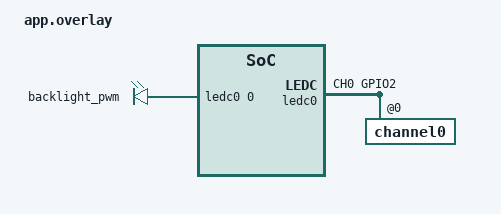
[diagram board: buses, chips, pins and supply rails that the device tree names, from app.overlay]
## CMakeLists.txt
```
cmake_minimum_required(VERSION 3.20.0)

set(EXTRA_ZEPHYR_MODULES
    "${CMAKE_CURRENT_SOURCE_DIR}/../.."
)

find_package(Zephyr REQUIRED HINTS $ENV{ZEPHYR_BASE})
project(viewe_lvgl_demo)

target_include_directories(app PRIVATE src)

if(BOARD STREQUAL "uedx80480050e_wb_a")
    target_sources(app PRIVATE src/main_8048.c)

elseif(BOARD STREQUAL "uedx48270043e_wb_a")
    target_sources(app PRIVATE src/main_4827.c)

else()
    message(FATAL_ERROR "Unsupported board for viewe_lvgl_demo: ${BOARD}")
endif()

target_sources(app PRIVATE
    src/test_stress_test.c
)

set(external_project_cflags
    "${includes} ${definitions} ${options} ${system_includes} -DDISABLE_AUTOMATIC_FW_UPDATE"
)
```

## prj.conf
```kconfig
# System logging
CONFIG_LOG=y
CONFIG_LOG_LCD_CAM_DIAGNOSTICS=n

# Hardware peripherals
CONFIG_GPIO=y
CONFIG_PWM=y
CONFIG_DMA=y
CONFIG_LED_STRIP=y
CONFIG_PULSE_IO_ESP32_RMT=y

# LCD_CAM RGB display
CONFIG_DISPLAY=y
CONFIG_ESP32_LCD_CAM_RGB=y
CONFIG_ESP32_LCD_RGB_FRAMEBUFFER_COUNT=3
CONFIG_ESP32_LCD_RGB_ROTATION_0=y
# CONFIG_ESP32_LCD_RGB_ROTATION_90=y
# CONFIG_ESP32_LCD_RGB_ROTATION_180=y
# CONFIG_ESP32_LCD_RGB_ROTATION_270=y

# LCD backlight
CONFIG_LED=y
CONFIG_LED_PWM=y

# External PSRAM
CONFIG_ESP_SPIRAM=y
CONFIG_SPIRAM_SPEED_80M=y

# GT911 touchscreen
CONFIG_INPUT=y
CONFIG_INPUT_GT911=y
# Default: POLL=y. Set INT=y only when R33 is mounted.
CONFIG_GT911_TOUCHSCREEN_POLL=y
# CONFIG_GT911_TOUCHSCREEN_INT=y

# LVGL
CONFIG_LVGL=y
CONFIG_LV_COLOR_FORMAT_RGB565=y
CONFIG_LV_Z_MEM_POOL_SIZE=65536
CONFIG_LV_Z_POINTER_INPUT=y
CONFIG_LV_Z_POINTER_FROM_CHOSEN_TOUCH=y
CONFIG_LV_Z_PARTIAL_REFRESH=y
# CONFIG_LV_Z_VDB_SIZE=10
CONFIG_LV_Z_DOUBLE_VDB=y
CONFIG_LV_Z_BUFFER_ALLOC_STATIC=y
CONFIG_LV_Z_AUTO_INIT=y

# LVGL fonts
CONFIG_LV_FONT_MONTSERRAT_20=y
CONFIG_LV_FONT_MONTSERRAT_28=y
CONFIG_LV_FONT_MONTSERRAT_48=y
```

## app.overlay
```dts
#include <zephyr/dt-bindings/pwm/pwm.h>
#include <zephyr/dt-bindings/pinctrl/esp32s3-pinctrl.h>

&lcd_backlight_en {
	status = "disabled";
};

&pinctrl {
	backlight_pwm_default: backlight_pwm_default {
		group1 {
			pinmux = <LEDC_CH0_GPIO2>;
			output-enable;
		};
	};
};

&ledc0 {
	status = "okay";
	pinctrl-0 = <&backlight_pwm_default>;
	pinctrl-names = "default";
	#address-cells = <1>;
	#size-cells = <0>;

	channel0@0 {
		reg = <0>;
		timer = <0>;
	};
};

/ {
	pwmleds {
		compatible = "pwm-leds";

		backlight_pwm: backlight_pwm {
			pwms = <&ledc0 0 PWM_HZ(250) PWM_POLARITY_NORMAL>;
		};
	};
};
```

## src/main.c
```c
#include <zephyr/kernel.h>
#include <zephyr/sys/printk.h>
#include <zephyr/drivers/gpio.h>
#include <zephyr/drivers/led.h>
#include <zephyr/drivers/led_strip.h>
#include <zephyr/drivers/display.h>
#include <zephyr/device.h>
#include <zephyr/devicetree.h>
#include <zephyr/logging/log.h>
#include <zephyr/version.h>

#include <stdint.h>
#include <lvgl.h>

LOG_MODULE_REGISTER(main, LOG_LEVEL_INF);

#define LVGL_TASK_DELAY_MS  (10U)

#define SAMUS_ORANGE		(0xF28C28U)
#define SAMUS_RED       	(0xD62828U)
#define SAMUS_BLUE      	(0x2389DAU)
#define SAMUS_GREEN     	(0x50C878U)
#define SAMUS_PURPLE    	(0x8445C7U)
#define DARK_SAMUS_BLUE     (0x00CFFFU)
#define DARK_SAMUS_ARMOR	(0x142B5AU)

#define RGB_LED_NODE 			DT_ALIAS(led_strip)
#define BACKLIGHT_NODE      	DT_ALIAS(backlight_pwm)
#define BACKLIGHT_LED_INDEX 	(0U)

#define VERSION_TEXT_SIZE		(64U)

#define ANIMATION_DURATION_MS 	(3000U)
#define ANIMATION_BOX_SIZE    	(100)

#define RUN_STRESS_TEST (0)
extern void stress_test_start(lv_obj_t *screen);

static lv_obj_t *screen = NULL;
static lv_obj_t *counter_label = NULL;
static uint32_t click_count = 0U;

static void clickme_button_event_cb(lv_event_t *event)
{
    if (LV_EVENT_CLICKED == lv_event_get_code(event)) {
        click_count++;
		lv_label_set_text_fmt(counter_label, "Clicks: %u", click_count);

        LOG_INF("Button clicked: %u", (unsigned int)click_count);
    }
}

static void create_clickme(lv_obj_t *screen)
{
    lv_obj_t *button = NULL;
    lv_obj_t *button_label = NULL;
	
    counter_label = lv_label_create(screen);
    lv_label_set_text(counter_label, "Clicks: 0");
	lv_obj_set_style_text_font(counter_label, &lv_font_montserrat_48, LV_PART_MAIN);
    lv_obj_set_style_text_color(counter_label, lv_color_hex(SAMUS_PURPLE), LV_PART_MAIN);
    lv_obj_align(counter_label, LV_ALIGN_TOP_LEFT, 20, 20);

	button = lv_obj_create(screen);
	lv_obj_set_size(button, 180, 60);
	lv_obj_align(button, LV_ALIGN_TOP_RIGHT, -20, 20);
	lv_obj_remove_flag(button, LV_OBJ_FLAG_SCROLLABLE);
	lv_obj_add_flag(button, LV_OBJ_FLAG_CLICKABLE);

	lv_obj_set_style_bg_color(button, lv_color_hex(SAMUS_ORANGE), LV_PART_MAIN);
	lv_obj_set_style_bg_color(button, lv_color_hex(DARK_SAMUS_ARMOR), LV_PART_MAIN | LV_STATE_PRESSED);
	lv_obj_set_style_bg_opa(button, LV_OPA_COVER, LV_PART_MAIN);
	lv_obj_set_style_border_width(button, 0, LV_PART_MAIN);
	lv_obj_set_style_radius(button, 10, LV_PART_MAIN);
	lv_obj_set_style_shadow_width(button, 0, LV_PART_MAIN);

	lv_obj_set_style_text_color(button, lv_color_hex(DARK_SAMUS_ARMOR), LV_PART_MAIN);
	lv_obj_set_style_text_color(button, lv_color_hex(DARK_SAMUS_BLUE), LV_PART_MAIN | LV_STATE_PRESSED);
	lv_obj_add_event_cb(button, clickme_button_event_cb, LV_EVENT_CLICKED, NULL);

	button_label = lv_label_create(button);
	lv_label_set_text(button_label, "CLICK ME!");
	lv_obj_set_style_text_font(button_label, &lv_font_montserrat_28, LV_PART_MAIN);
	lv_obj_center(button_label);
}

static void morphball_animation_cb(void *obj, int32_t value)
{
    lv_obj_set_x((lv_obj_t *)obj, value);
}

static void create_morphball_anim(lv_obj_t *screen)
{
	static lv_obj_t *morph_ball = NULL;
	static lv_anim_t anim;

	lv_display_t *display = lv_obj_get_display(screen);
	int32_t screen_width = lv_display_get_horizontal_resolution(display);
	int32_t screen_height = lv_display_get_vertical_resolution(display);

	int32_t animation_start_x = 0;
	int32_t animation_end_x = screen_width - ANIMATION_BOX_SIZE;
	int32_t animation_y = screen_height - 200U;

	morph_ball = lv_obj_create(screen);

	lv_obj_set_size(morph_ball, ANIMATION_BOX_SIZE, ANIMATION_BOX_SIZE);
	lv_obj_set_style_bg_color(morph_ball, lv_color_hex(SAMUS_ORANGE), LV_PART_MAIN);
	lv_obj_set_style_bg_opa(morph_ball, LV_OPA_COVER, LV_PART_MAIN);
	lv_obj_set_style_radius(morph_ball, (ANIMATION_BOX_SIZE / 2U), LV_PART_MAIN);
	lv_obj_set_style_border_width(morph_ball, 0, LV_PART_MAIN);

	lv_obj_set_pos(morph_ball, animation_start_x, animation_y);

	lv_anim_init(&anim);
	lv_anim_set_var(&anim, morph_ball);
	lv_anim_set_exec_cb(&anim, morphball_animation_cb);
	lv_anim_set_values(&anim, animation_start_x, animation_end_x);
	lv_anim_set_duration(&anim, ANIMATION_DURATION_MS);
	lv_anim_set_playback_duration(&anim, ANIMATION_DURATION_MS);
	lv_anim_set_repeat_count(&anim, LV_ANIM_REPEAT_INFINITE);
	lv_anim_start(&anim);
}

static void create_version(lv_obj_t *screen, bool show_signature)
{
	static lv_obj_t *version_label = NULL;
	static lv_obj_t *label = NULL;
	char version_text[VERSION_TEXT_SIZE] = {0};

	lv_display_t *display = lv_obj_get_display(screen);
	int32_t screen_width = lv_display_get_horizontal_resolution(display);
	int32_t screen_height = lv_display_get_vertical_resolution(display);

	if (screen_height > screen_width) {
		(void)snprintf(version_text, sizeof(version_text),
			       "Zephyr %u.%u\nLVGL %u.%u",
			       (unsigned int)KERNEL_VERSION_MAJOR,
			       (unsigned int)KERNEL_VERSION_MINOR,
			       (unsigned int)lv_version_major(),
			       (unsigned int)lv_version_minor());
	} else {
		(void)snprintf(version_text, sizeof(version_text),
			       "Zephyr %u.%u x LVGL %u.%u",
			       (unsigned int)KERNEL_VERSION_MAJOR,
			       (unsigned int)KERNEL_VERSION_MINOR,
			       (unsigned int)lv_version_major(),
			       (unsigned int)lv_version_minor());
	}

	version_label = lv_label_create(screen);
	lv_label_set_text(version_label, version_text);
	lv_obj_set_style_text_font(version_label, &lv_font_montserrat_48, LV_PART_MAIN);
	lv_obj_set_style_text_color(version_label, lv_color_hex(SAMUS_ORANGE), LV_PART_MAIN);
	lv_obj_set_style_text_align(version_label, LV_TEXT_ALIGN_CENTER, LV_PART_MAIN);
	lv_obj_center(version_label);

	if (true == show_signature) {
		label = lv_label_create(screen);
		lv_label_set_text(label, "@_art_of_electronics_");
		lv_obj_set_style_text_font(label, &lv_font_montserrat_28, LV_PART_MAIN);
		lv_obj_set_style_text_color(label, lv_color_hex(SAMUS_RED), LV_PART_MAIN);
		lv_obj_align(label, LV_ALIGN_BOTTOM_MID, 0, -50);
	}
}

static void create_main_screen(lv_obj_t *screen, bool gradient_bg)
{
	if(true == gradient_bg) {
		lv_obj_set_style_bg_color(screen, lv_color_hex(DARK_SAMUS_BLUE), LV_PART_MAIN);
		lv_obj_set_style_bg_grad_color(screen, lv_color_hex(DARK_SAMUS_ARMOR),LV_PART_MAIN);
		lv_obj_set_style_bg_grad_dir(screen, LV_GRAD_DIR_VER, LV_PART_MAIN);
		lv_obj_set_style_bg_opa(screen, LV_OPA_COVER, LV_PART_MAIN);
	} else {
		lv_obj_set_style_bg_color(screen, lv_color_hex(DARK_SAMUS_ARMOR), LV_PART_MAIN);
    	lv_obj_set_style_bg_opa(screen, LV_OPA_COVER, LV_PART_MAIN);
	}
}

int main(void)
{
	int ret = 0;

	static const struct device *const backlight_dev = DEVICE_DT_GET(BACKLIGHT_NODE);
    static const struct device *const display_dev = DEVICE_DT_GET(DT_CHOSEN(zephyr_display));
	static const struct device *const rgb_led = DEVICE_DT_GET(RGB_LED_NODE);
    
    if (true != device_is_ready(display_dev)) {
        return -ENODEV;
    }

	struct led_rgb pixel = {
		.r = 0U,
		.g = 10U,
		.b = 10U,
	};

	if (true != device_is_ready(rgb_led)) {
		return -ENODEV;
	}

	if (true != device_is_ready(backlight_dev)) {
    	LOG_ERR("Backlight device not ready");
    	return -ENODEV;
	}

	if (NULL == lv_display_get_default()) {
    	LOG_ERR("LVGL display not available");
    	return -ENODEV;
	}

	screen = lv_screen_active();
	if (NULL == screen) {
    	LOG_ERR("LVGL active screen is NULL");
    	return -ENODEV;
	}

	LOG_INF("LCD RGB started");

	ret = led_strip_update_rgb(rgb_led, &pixel, 1U);
    if (0 != ret) {
        LOG_ERR("RGB LED update failed: %d", ret);
        return ret;
    }

    ret = led_set_brightness(backlight_dev, BACKLIGHT_LED_INDEX, 35U);
    if (0 != ret) {
        LOG_ERR("Backlight brightness failed: %d", ret);
        return ret;
    }

	create_main_screen(screen, true);
	create_version(screen, true);
	create_morphball_anim(screen);
	create_clickme(screen);

#if RUN_STRESS_TEST
	stress_test_start(screen);
#endif

	while (true) {
    	lv_timer_handler();
    	k_sleep(K_MSEC(10));
	}
}
```

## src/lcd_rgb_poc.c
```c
#include "lcd_rgb_poc.h"

#include <errno.h>
#include <stdint.h>
#include <string.h>

#include <zephyr/cache.h>
#include <zephyr/device.h>
#include <zephyr/devicetree.h>
#include <zephyr/drivers/dma.h>
#include <zephyr/logging/log.h>
#include <zephyr/sys/util.h>

#include <esp_clk_tree.h>
#include <hal/dma_types.h>
#include <hal/gdma_channel.h>
#include <hal/gdma_ll.h>
#include <hal/lcd_hal.h>
#include <hal/lcd_ll.h>
#include <soc/gdma_struct.h>

#include <zephyr/drivers/pinctrl.h>

#define LCD_CAM_NODE DT_NODELABEL(lcd_cam)

PINCTRL_DT_DEFINE(LCD_CAM_NODE);

LOG_MODULE_REGISTER(lcd_rgb_poc, LOG_LEVEL_INF);

#define LCD_BUS_ID                     0U

#define LCD_PERIPH_CLOCK_PRE_SCALE     2U
#define LCD_PIXEL_CLOCK_HZ             20000000U

#define LCD_HACTIVE                    800U
#define LCD_VACTIVE                    480U

#define LCD_HSYNC_LEN                  1U
#define LCD_HBACK_PORCH                42U
#define LCD_HFRONT_PORCH               20U

#define LCD_VSYNC_LEN                  10U
#define LCD_VBACK_PORCH                12U
#define LCD_VFRONT_PORCH               4U

#define LCD_DATA_WIDTH                 16U

#define LCD_DMA_BUFFER_PIXELS          4000U
#define LCD_DMA_BUFFER_SIZE            \
	(LCD_DMA_BUFFER_PIXELS * sizeof(uint16_t))

#define LCD_DMA_DESC_COUNT             2U
#define LCD_DMA_DESC_SIZE              \
	(LCD_DMA_BUFFER_SIZE / LCD_DMA_DESC_COUNT)

#define LCD_CAM_NODE                   DT_NODELABEL(lcd_cam)

#if !DT_NODE_HAS_STATUS(LCD_CAM_NODE, okay)
#error "LCD_CAM must be enabled in the board devicetree"
#endif

#define LCD_DMA_DEV                    \
	DEVICE_DT_GET(DT_DMAS_CTLR_BY_NAME(LCD_CAM_NODE, tx))

#define LCD_DMA_CHANNEL                \
	DT_DMAS_CELL_BY_NAME(LCD_CAM_NODE, tx, channel)

#define LCD_DMA_SLOT                   SOC_GDMA_TRIG_PERIPH_LCD0

/*
 * ESP32 GDMA exposes RX/TX as separate Zephyr channels.
 * The hardware channel index is therefore channel / 2.
 */
#define LCD_GDMA_HW_CHANNEL            (LCD_DMA_CHANNEL / 2U)

struct lcd_rgb_poc_data {
	lcd_hal_context_t hal;
	const struct device *dma_dev;
	uint32_t dma_channel;
};

static struct lcd_rgb_poc_data lcd_data;

static uint16_t __aligned(32)
	lcd_dma_buffer[LCD_DMA_BUFFER_PIXELS];

static dma_descriptor_t __aligned(4)
	lcd_dma_desc[LCD_DMA_DESC_COUNT];

static struct dma_block_config lcd_dma_setup_block;
static struct dma_config lcd_dma_config;

static int lcd_pinctrl_init(void)
{
    const struct pinctrl_dev_config *pcfg =
        PINCTRL_DT_DEV_CONFIG_GET(LCD_CAM_NODE);

    int ret = pinctrl_apply_state(pcfg, PINCTRL_STATE_DEFAULT);

    if (ret < 0) {
        LOG_ERR("Failed to apply LCD_CAM pinctrl: %d", ret);
        return ret;
    }

    LOG_INF("LCD_CAM RGB pinctrl applied");
    return 0;
}

static int lcd_clock_init(struct lcd_rgb_poc_data *data)
{
	const soc_periph_lcd_clk_src_t clock_source = LCD_CLK_SRC_DEFAULT;
	uint32_t source_clock_hz;
	uint32_t lcd_clock_hz;
	uint32_t pixel_clock_hz;
	uint32_t pclk_prescale;
	int ret;

	ret = esp_clk_tree_src_get_freq_hz(
		clock_source,
		ESP_CLK_TREE_SRC_FREQ_PRECISION_APPROX,
		&source_clock_hz);

	if (ret != ESP_OK) {
		LOG_ERR("Failed to get LCD clock source frequency (%d)", ret);
		return -EINVAL;
	}

	lcd_ll_select_clk_src(data->hal.dev, clock_source);

	lcd_ll_set_group_clock_coeff(
		data->hal.dev,
		LCD_PERIPH_CLOCK_PRE_SCALE,
		0,
		0);

	lcd_clock_hz =
		source_clock_hz / LCD_PERIPH_CLOCK_PRE_SCALE;

	pclk_prescale =
		DIV_ROUND_UP(lcd_clock_hz, LCD_PIXEL_CLOCK_HZ);

	if ((pclk_prescale == 0U) ||
	    (pclk_prescale > LCD_LL_PCLK_DIV_MAX)) {
		LOG_ERR("Unsupported pixel clock divider %u",
			pclk_prescale);
		return -EINVAL;
	}

	lcd_ll_set_pixel_clock_prescale(
		data->hal.dev,
		pclk_prescale);

	pixel_clock_hz = lcd_clock_hz / pclk_prescale;

	LOG_INF("LCD clock source: %u Hz", source_clock_hz);
	LOG_INF("LCD peripheral clock: %u Hz", lcd_clock_hz);
	LOG_INF("RGB pixel clock: %u Hz", pixel_clock_hz);

	return 0;
}


static void lcd_timing_init(struct lcd_rgb_poc_data *data)
{
	lcd_cam_dev_t *dev = data->hal.dev;

	lcd_ll_set_dma_read_stride(dev, LCD_DATA_WIDTH);

	lcd_ll_set_clock_idle_level(dev, false);
	lcd_ll_set_pixel_clock_edge(dev, true);

	lcd_ll_enable_rgb_mode(dev, true);
	lcd_ll_enable_color_convert(dev, false);

	/* RGB uses data phase only. */
	lcd_ll_set_phase_cycles(dev, 0, 0, 1);

	/* Data phase length is controlled by DMA. */
	lcd_ll_enable_output_always_on(dev, true);

	/* HSYNC/VSYNC active low, DE active high. */
	lcd_ll_set_idle_level(dev, true, true, false);

	/* RGB always contains front and back porch regions. */
	lcd_ll_set_blank_cycles(dev, 1, 1);

	lcd_ll_set_horizontal_timing(
		dev,
		LCD_HSYNC_LEN,
		LCD_HBACK_PORCH,
		LCD_HACTIVE,
		LCD_HFRONT_PORCH);

	lcd_ll_set_vertical_timing(
		dev,
		LCD_VSYNC_LEN,
		LCD_VBACK_PORCH,
		LCD_VACTIVE,
		LCD_VFRONT_PORCH);

	lcd_ll_enable_output_hsync_in_porch_region(dev, true);
	lcd_ll_set_hsync_position(dev, 0);

	lcd_ll_enable_auto_next_frame(dev, true);

	lcd_ll_set_delay_ticks(dev, 0, 0, 0);
	lcd_ll_set_data_delay_ticks(dev, 0);
}


static int lcd_cam_init(struct lcd_rgb_poc_data *data)
{
	int ret;

	lcd_ll_enable_bus_clock(LCD_BUS_ID, true);
	lcd_ll_reset_register(LCD_BUS_ID);

	data->hal.dev = LCD_LL_GET_HW(LCD_BUS_ID);

	//lcd_ll_enable_clock(data->hal.dev, true);
	lcd_ll_enable_output_always_on(data->hal.dev, false);

	ret = lcd_clock_init(data);
	if (ret < 0) {
		return ret;
	}

	lcd_ll_reset(data->hal.dev);
	lcd_ll_fifo_reset(data->hal.dev);

	//lcd_ll_enable_rgb_mode(data->hal.dev, true);
	//lcd_ll_enable_color_convert(data->hal.dev, false);
	//lcd_ll_enable_output_always_on(data->hal.dev, true);

	lcd_timing_init(data);

	return 0;
}


static int lcd_dma_channel_init(struct lcd_rgb_poc_data *data)
{
	int ret;

	data->dma_dev = LCD_DMA_DEV;
	data->dma_channel = LCD_DMA_CHANNEL;

	if (!device_is_ready(data->dma_dev)) {
		LOG_ERR("LCD DMA controller is not ready");
		return -ENODEV;
	}

	memset(&lcd_dma_setup_block, 0,
	       sizeof(lcd_dma_setup_block));

	memset(&lcd_dma_config, 0,
	       sizeof(lcd_dma_config));

	/*
	 * Let Zephyr configure the physical GDMA TX channel and connect it
	 * to the LCD0 peripheral trigger.
	 *
	 * This descriptor will never be started through the Zephyr DMA API.
	 */
	lcd_dma_setup_block.source_address =
		(uintptr_t)lcd_dma_buffer;

	lcd_dma_setup_block.block_size =
		sizeof(uint32_t);

	lcd_dma_config.channel_direction =
		MEMORY_TO_PERIPHERAL;

	lcd_dma_config.dma_slot =
		LCD_DMA_SLOT;

	lcd_dma_config.block_count = 1U;

	lcd_dma_config.head_block =
		&lcd_dma_setup_block;

	ret = dma_config(
		data->dma_dev,
		data->dma_channel,
		&lcd_dma_config);

	if (ret < 0) {
		LOG_ERR("Failed to configure LCD DMA channel (%d)", ret);
		return ret;
	}

	LOG_INF("LCD GDMA configured: Zephyr channel %u, HW TX channel %u",
		data->dma_channel,
		LCD_GDMA_HW_CHANNEL);

	return 0;
}


static void lcd_dma_ring_init(void)
{
	uintptr_t buffer_addr = (uintptr_t)lcd_dma_buffer;

	for (size_t i = 0; i < ARRAY_SIZE(lcd_dma_buffer); ++i) {
		lcd_dma_buffer[i] = 0x101F;
	}

	memset(lcd_dma_desc, 0, sizeof(lcd_dma_desc));

	for (size_t i = 0; i < LCD_DMA_DESC_COUNT; ++i) {
	lcd_dma_desc[i].buffer =
		(void *)(buffer_addr +
			(i * LCD_DMA_DESC_SIZE));

	lcd_dma_desc[i].dw0.size = LCD_DMA_DESC_SIZE;
	lcd_dma_desc[i].dw0.length = LCD_DMA_DESC_SIZE;
	lcd_dma_desc[i].dw0.owner =
		DMA_DESCRIPTOR_BUFFER_OWNER_DMA;

	lcd_dma_desc[i].dw0.suc_eof =
		(i == (LCD_DMA_DESC_COUNT - 1U));

	lcd_dma_desc[i].next =
		&lcd_dma_desc[
			(i + 1U) % LCD_DMA_DESC_COUNT];
}

	sys_cache_data_flush_range(
		lcd_dma_buffer,
		sizeof(lcd_dma_buffer));

	sys_cache_data_flush_range(
		lcd_dma_desc,
		sizeof(lcd_dma_desc));

	LOG_INF("LCD DMA ring prepared: %u descriptors, %u bytes",
		LCD_DMA_DESC_COUNT,
		LCD_DMA_BUFFER_SIZE);
}


static void lcd_rgb_start(struct lcd_rgb_poc_data *data)
{
	lcd_cam_dev_t *dev = data->hal.dev;

	lcd_ll_stop(dev);
	lcd_ll_reset(dev);
	lcd_ll_fifo_reset(dev);

	gdma_ll_tx_set_desc_addr(
		&GDMA,
		LCD_GDMA_HW_CHANNEL,
		(uint32_t)(uintptr_t)lcd_dma_desc);

	gdma_ll_tx_start(
		&GDMA,
		LCD_GDMA_HW_CHANNEL);

	k_busy_wait(1);

	lcd_ll_start(dev);

	LOG_INF("LCD RGB stream started");

	k_msleep(10);

	LOG_INF("GDMA: idle=%d eof=0x%08x prefetched=0x%08x",
	gdma_ll_tx_is_desc_fsm_idle(
		&GDMA, LCD_GDMA_HW_CHANNEL),
	gdma_ll_tx_get_eof_desc_addr(
		&GDMA, LCD_GDMA_HW_CHANNEL),
	gdma_ll_tx_get_prefetched_desc_addr(
		&GDMA, LCD_GDMA_HW_CHANNEL));
}


int lcd_rgb_poc_init(void)
{
	int ret;

	LOG_INF("Initializing ESP32-S3 LCD_CAM RGB proof of concept");

	ret = lcd_pinctrl_init();
	if (ret < 0) {
    	return ret;
	}

	ret = lcd_cam_init(&lcd_data);
	if (ret < 0) {
		return ret;
	}

	ret = lcd_dma_channel_init(&lcd_data);
	if (ret < 0) {
		return ret;
	}

	lcd_dma_ring_init();
	lcd_rgb_start(&lcd_data);

	LOG_INF("LCD_CAM RGB initialized: %ux%u",
		LCD_HACTIVE,
		LCD_VACTIVE);

	return 0;
}
```

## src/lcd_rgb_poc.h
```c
#ifndef LCD_RGB_POC_H_
#define LCD_RGB_POC_H_

int lcd_rgb_poc_init(void);

#endif /* LCD_RGB_POC_H_ */
```

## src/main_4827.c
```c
#include <zephyr/kernel.h>
#include <zephyr/sys/printk.h>
#include <zephyr/drivers/gpio.h>
#include <zephyr/drivers/led.h>
#include <zephyr/drivers/led_strip.h>
#include <zephyr/drivers/display.h>
#include <zephyr/device.h>
#include <zephyr/devicetree.h>
#include <zephyr/logging/log.h>
#include <zephyr/version.h>

#include <stdint.h>
#include <lvgl.h>

LOG_MODULE_REGISTER(main, LOG_LEVEL_INF);

#define LVGL_TASK_DELAY_MS  (10U)

#define SAMUS_ORANGE		(0xF28C28U)
#define SAMUS_RED       	(0xD62828U)
#define SAMUS_BLUE      	(0x2389DAU)
#define SAMUS_GREEN     	(0x50C878U)
#define SAMUS_PURPLE    	(0x8445C7U)
#define DARK_SAMUS_BLUE     (0x00CFFFU)
#define DARK_SAMUS_ARMOR	(0x142B5AU)

#define RGB_LED_NODE 			DT_ALIAS(led_strip)
#define BACKLIGHT_NODE      	DT_ALIAS(backlight_pwm)
#define BACKLIGHT_LED_INDEX 	(0U)

#define VERSION_TEXT_SIZE		(64U)

#define ANIMATION_DURATION_MS 	(3000U)
#define ANIMATION_BOX_SIZE    	(40)

#define RUN_STRESS_TEST (0)
extern void stress_test_start(lv_obj_t *screen);

static lv_obj_t *screen = NULL;
static lv_obj_t *counter_label = NULL;
static uint32_t click_count = 0U;

static void clickme_button_event_cb(lv_event_t *event)
{
    if (LV_EVENT_CLICKED == lv_event_get_code(event)) {
        click_count++;
		lv_label_set_text_fmt(counter_label, "Clicks: %u", click_count);

        LOG_INF("Button clicked: %u", (unsigned int)click_count);
    }
}

static void create_clickme(lv_obj_t *screen)
{
    lv_obj_t *button = NULL;
    lv_obj_t *button_label = NULL;

	lv_display_t *display = lv_obj_get_display(screen);
	int32_t screen_width = lv_display_get_horizontal_resolution(display);
	int32_t screen_height = lv_display_get_vertical_resolution(display);
	
    counter_label = lv_label_create(screen);
    lv_label_set_text(counter_label, "Clicks: 0");
	lv_obj_set_style_text_font(counter_label, &lv_font_montserrat_28, LV_PART_MAIN);
    lv_obj_set_style_text_color(counter_label, lv_color_hex(SAMUS_PURPLE), LV_PART_MAIN);
    lv_obj_align(counter_label, LV_ALIGN_TOP_LEFT, 20, 20);

	button = lv_obj_create(screen);
	lv_obj_set_size(button, 160, 50);
	if (screen_height > screen_width) {
		lv_obj_align(button, LV_ALIGN_TOP_RIGHT, -20, 60);
	} else {
		lv_obj_align(button, LV_ALIGN_TOP_RIGHT, -20, 20);
	}
	lv_obj_set_scrollable(button, false);
	lv_obj_set_clickable(button, true);

	lv_obj_set_style_bg_color(button, lv_color_hex(SAMUS_ORANGE), LV_PART_MAIN);
	lv_obj_set_style_bg_color(button, lv_color_hex(DARK_SAMUS_ARMOR), LV_PART_MAIN | LV_STATE_PRESSED);
	lv_obj_set_style_bg_opa(button, LV_OPA_COVER, LV_PART_MAIN);
	lv_obj_set_style_border_width(button, 0, LV_PART_MAIN);
	lv_obj_set_style_radius(button, 10, LV_PART_MAIN);
	lv_obj_set_style_shadow_width(button, 0, LV_PART_MAIN);

	lv_obj_set_style_text_color(button, lv_color_hex(DARK_SAMUS_ARMOR), LV_PART_MAIN);
	lv_obj_set_style_text_color(button, lv_color_hex(DARK_SAMUS_BLUE), LV_PART_MAIN | LV_STATE_PRESSED);
	lv_obj_add_event_cb(button, clickme_button_event_cb, LV_EVENT_CLICKED, NULL);

	button_label = lv_label_create(button);
	lv_label_set_text(button_label, "CLICK ME!");
	lv_obj_set_style_text_font(button_label, &lv_font_montserrat_28, LV_PART_MAIN);
	lv_obj_center(button_label);
}

static void morphball_animation_cb(void *obj, int32_t value)
{
    lv_obj_set_x((lv_obj_t *)obj, value);
}

static void create_morphball_anim(lv_obj_t *screen)
{
	static lv_obj_t *morph_ball = NULL;
	static lv_anim_t anim;

	lv_display_t *display = lv_obj_get_display(screen);
	int32_t screen_width = lv_display_get_horizontal_resolution(display);
	int32_t screen_height = lv_display_get_vertical_resolution(display);

	int32_t animation_start_x = 0;
	int32_t animation_end_x = screen_width - ANIMATION_BOX_SIZE;
	int32_t animation_y = screen_height - 100U;

	morph_ball = lv_obj_create(screen);

	lv_obj_set_size(morph_ball, ANIMATION_BOX_SIZE, ANIMATION_BOX_SIZE);
	lv_obj_set_style_bg_color(morph_ball, lv_color_hex(SAMUS_ORANGE), LV_PART_MAIN);
	lv_obj_set_style_bg_opa(morph_ball, LV_OPA_COVER, LV_PART_MAIN);
	lv_obj_set_style_radius(morph_ball, (ANIMATION_BOX_SIZE / 2U), LV_PART_MAIN);
	lv_obj_set_style_border_width(morph_ball, 0, LV_PART_MAIN);

	lv_obj_set_pos(morph_ball, animation_start_x, animation_y);

	lv_anim_init(&anim);
	lv_anim_set_var(&anim, morph_ball);
	lv_anim_set_exec_cb(&anim, morphball_animation_cb);
	lv_anim_set_values(&anim, animation_start_x, animation_end_x);
	lv_anim_set_duration(&anim, ANIMATION_DURATION_MS);
	lv_anim_set_playback_duration(&anim, ANIMATION_DURATION_MS);
	lv_anim_set_repeat_count(&anim, LV_ANIM_REPEAT_INFINITE);
	lv_anim_start(&anim);
}

static void create_version(lv_obj_t *screen, bool show_signature)
{
	static lv_obj_t *version_label = NULL;
	static lv_obj_t *label = NULL;
	char version_text[VERSION_TEXT_SIZE] = {0};

	lv_display_t *display = lv_obj_get_display(screen);
	int32_t screen_width = lv_display_get_horizontal_resolution(display);
	int32_t screen_height = lv_display_get_vertical_resolution(display);

	if (screen_height > screen_width) {
		(void)snprintf(version_text, sizeof(version_text),
			       "Zephyr %u.%u\nLVGL %u.%u",
			       (unsigned int)KERNEL_VERSION_MAJOR,
			       (unsigned int)KERNEL_VERSION_MINOR,
			       (unsigned int)lv_version_major(),
			       (unsigned int)lv_version_minor());
	} else {
		(void)snprintf(version_text, sizeof(version_text),
			       "Zephyr %u.%u x LVGL %u.%u",
			       (unsigned int)KERNEL_VERSION_MAJOR,
			       (unsigned int)KERNEL_VERSION_MINOR,
			       (unsigned int)lv_version_major(),
			       (unsigned int)lv_version_minor());
	}

	version_label = lv_label_create(screen);
	lv_label_set_text(version_label, version_text);
	lv_obj_set_style_text_font(version_label, &lv_font_montserrat_28, LV_PART_MAIN);
	lv_obj_set_style_text_color(version_label, lv_color_hex(SAMUS_ORANGE), LV_PART_MAIN);
	lv_obj_set_style_text_align(version_label, LV_TEXT_ALIGN_CENTER, LV_PART_MAIN);
	lv_obj_center(version_label);

	if (true == show_signature) {
		label = lv_label_create(screen);
		lv_label_set_text(label, "@_art_of_electronics_");
		lv_obj_set_style_text_font(label, &lv_font_montserrat_20, LV_PART_MAIN);
		lv_obj_set_style_text_color(label, lv_color_hex(SAMUS_RED), LV_PART_MAIN);
		lv_obj_align(label, LV_ALIGN_BOTTOM_MID, 0, -20);
	}
}

static void create_main_screen(lv_obj_t *screen, bool gradient_bg)
{
	if(true == gradient_bg) {
		lv_obj_set_style_bg_color(screen, lv_color_hex(DARK_SAMUS_BLUE), LV_PART_MAIN);
		lv_obj_set_style_bg_grad_color(screen, lv_color_hex(DARK_SAMUS_ARMOR),LV_PART_MAIN);
		lv_obj_set_style_bg_grad_dir(screen, LV_GRAD_DIR_VER, LV_PART_MAIN);
		lv_obj_set_style_bg_opa(screen, LV_OPA_COVER, LV_PART_MAIN);
	} else {
		lv_obj_set_style_bg_color(screen, lv_color_hex(DARK_SAMUS_ARMOR), LV_PART_MAIN);
    	lv_obj_set_style_bg_opa(screen, LV_OPA_COVER, LV_PART_MAIN);
	}
}

int main(void)
{
	int ret = 0;

	static const struct device *const backlight_dev = DEVICE_DT_GET(BACKLIGHT_NODE);
    static const struct device *const display_dev = DEVICE_DT_GET(DT_CHOSEN(zephyr_display));
	static const struct device *const rgb_led = DEVICE_DT_GET(RGB_LED_NODE);
    
    if (true != device_is_ready(display_dev)) {
        return -ENODEV;
    }

	struct led_rgb pixel = {
		.r = 0U,
		.g = 10U,
		.b = 10U,
	};

	if (true != device_is_ready(rgb_led)) {
		return -ENODEV;
	}

	if (true != device_is_ready(backlight_dev)) {
    	LOG_ERR("Backlight device not ready");
    	return -ENODEV;
	}

	if (NULL == lv_display_get_default()) {
    	LOG_ERR("LVGL display not available");
    	return -ENODEV;
	}

	screen = lv_screen_active();
	if (NULL == screen) {
    	LOG_ERR("LVGL active screen is NULL");
    	return -ENODEV;
	}

	LOG_INF("LCD RGB started");

	ret = led_strip_update_rgb(rgb_led, &pixel, 1U);
    if (0 != ret) {
        LOG_ERR("RGB LED update failed: %d", ret);
        return ret;
    }

    ret = led_set_brightness(backlight_dev, BACKLIGHT_LED_INDEX, 35U);
    if (0 != ret) {
        LOG_ERR("Backlight brightness failed: %d", ret);
        return ret;
    }

	create_main_screen(screen, true);
	create_version(screen, true);
	create_morphball_anim(screen);
	create_clickme(screen);

#if RUN_STRESS_TEST
	stress_test_start(screen);
#endif

	while (true) {
    	lv_timer_handler();
    	k_sleep(K_MSEC(10));
	}
}
```

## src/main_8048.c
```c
#include <zephyr/kernel.h>
#include <zephyr/sys/printk.h>
#include <zephyr/drivers/gpio.h>
#include <zephyr/drivers/led.h>
#include <zephyr/drivers/led_strip.h>
#include <zephyr/drivers/display.h>
#include <zephyr/device.h>
#include <zephyr/devicetree.h>
#include <zephyr/logging/log.h>
#include <zephyr/version.h>

#include <stdint.h>
#include <lvgl.h>

LOG_MODULE_REGISTER(main, LOG_LEVEL_INF);

#define LVGL_TASK_DELAY_MS  (10U)

#define SAMUS_ORANGE		(0xF28C28U)
#define SAMUS_RED       	(0xD62828U)
#define SAMUS_BLUE      	(0x2389DAU)
#define SAMUS_GREEN     	(0x50C878U)
#define SAMUS_PURPLE    	(0x8445C7U)
#define DARK_SAMUS_BLUE     (0x00CFFFU)
#define DARK_SAMUS_ARMOR	(0x142B5AU)

#define RGB_LED_NODE 			DT_ALIAS(led_strip)
#define BACKLIGHT_NODE      	DT_ALIAS(backlight_pwm)
#define BACKLIGHT_LED_INDEX 	(0U)

#define VERSION_TEXT_SIZE		(64U)

#define ANIMATION_DURATION_MS 	(3000U)
#define ANIMATION_BOX_SIZE    	(100)

#define RUN_STRESS_TEST (0)
extern void stress_test_start(lv_obj_t *screen);

static lv_obj_t *screen = NULL;
static lv_obj_t *counter_label = NULL;
static uint32_t click_count = 0U;

static void clickme_button_event_cb(lv_event_t *event)
{
    if (LV_EVENT_CLICKED == lv_event_get_code(event)) {
        click_count++;
		lv_label_set_text_fmt(counter_label, "Clicks: %u", click_count);

        LOG_INF("Button clicked: %u", (unsigned int)click_count);
    }
}

static void create_clickme(lv_obj_t *screen)
{
    lv_obj_t *button = NULL;
    lv_obj_t *button_label = NULL;
	
    counter_label = lv_label_create(screen);
    lv_label_set_text(counter_label, "Clicks: 0");
	lv_obj_set_style_text_font(counter_label, &lv_font_montserrat_48, LV_PART_MAIN);
    lv_obj_set_style_text_color(counter_label, lv_color_hex(SAMUS_PURPLE), LV_PART_MAIN);
    lv_obj_align(counter_label, LV_ALIGN_TOP_LEFT, 20, 20);

	button = lv_obj_create(screen);
	lv_obj_set_size(button, 180, 60);
	lv_obj_align(button, LV_ALIGN_TOP_RIGHT, -20, 20);
	lv_obj_set_scrollable(button, false);
	lv_obj_set_clickable(button, true);

	lv_obj_set_style_bg_color(button, lv_color_hex(SAMUS_ORANGE), LV_PART_MAIN);
	lv_obj_set_style_bg_color(button, lv_color_hex(DARK_SAMUS_ARMOR), LV_PART_MAIN | LV_STATE_PRESSED);
	lv_obj_set_style_bg_opa(button, LV_OPA_COVER, LV_PART_MAIN);
	lv_obj_set_style_border_width(button, 0, LV_PART_MAIN);
	lv_obj_set_style_radius(button, 10, LV_PART_MAIN);
	lv_obj_set_style_shadow_width(button, 0, LV_PART_MAIN);

	lv_obj_set_style_text_color(button, lv_color_hex(DARK_SAMUS_ARMOR), LV_PART_MAIN);
	lv_obj_set_style_text_color(button, lv_color_hex(DARK_SAMUS_BLUE), LV_PART_MAIN | LV_STATE_PRESSED);
	lv_obj_add_event_cb(button, clickme_button_event_cb, LV_EVENT_CLICKED, NULL);

	button_label = lv_label_create(button);
	lv_label_set_text(button_label, "CLICK ME!");
	lv_obj_set_style_text_font(button_label, &lv_font_montserrat_28, LV_PART_MAIN);
	lv_obj_center(button_label);
}

static void morphball_animation_cb(void *obj, int32_t value)
{
    lv_obj_set_x((lv_obj_t *)obj, value);
}

static void create_morphball_anim(lv_obj_t *screen)
{
	static lv_obj_t *morph_ball = NULL;
	static lv_anim_t anim;

	lv_display_t *display = lv_obj_get_display(screen);
	int32_t screen_width = lv_display_get_horizontal_resolution(display);
	int32_t screen_height = lv_display_get_vertical_resolution(display);

	int32_t animation_start_x = 0;
	int32_t animation_end_x = screen_width - ANIMATION_BOX_SIZE;
	int32_t animation_y = screen_height - 200U;

	morph_ball = lv_obj_create(screen);

	lv_obj_set_size(morph_ball, ANIMATION_BOX_SIZE, ANIMATION_BOX_SIZE);
	lv_obj_set_style_bg_color(morph_ball, lv_color_hex(SAMUS_ORANGE), LV_PART_MAIN);
	lv_obj_set_style_bg_opa(morph_ball, LV_OPA_COVER, LV_PART_MAIN);
	lv_obj_set_style_radius(morph_ball, (ANIMATION_BOX_SIZE / 2U), LV_PART_MAIN);
	lv_obj_set_style_border_width(morph_ball, 0, LV_PART_MAIN);

	lv_obj_set_pos(morph_ball, animation_start_x, animation_y);

	lv_anim_init(&anim);
	lv_anim_set_var(&anim, morph_ball);
	lv_anim_set_exec_cb(&anim, morphball_animation_cb);
	lv_anim_set_values(&anim, animation_start_x, animation_end_x);
	lv_anim_set_duration(&anim, ANIMATION_DURATION_MS);
	lv_anim_set_playback_duration(&anim, ANIMATION_DURATION_MS);
	lv_anim_set_repeat_count(&anim, LV_ANIM_REPEAT_INFINITE);
	lv_anim_start(&anim);
}

static void create_version(lv_obj_t *screen, bool show_signature)
{
	static lv_obj_t *version_label = NULL;
	static lv_obj_t *label = NULL;
	char version_text[VERSION_TEXT_SIZE] = {0};

	lv_display_t *display = lv_obj_get_display(screen);
	int32_t screen_width = lv_display_get_horizontal_resolution(display);
	int32_t screen_height = lv_display_get_vertical_resolution(display);

	if (screen_height > screen_width) {
		(void)snprintf(version_text, sizeof(version_text),
			       "Zephyr %u.%u\nLVGL %u.%u",
			       (unsigned int)KERNEL_VERSION_MAJOR,
			       (unsigned int)KERNEL_VERSION_MINOR,
			       (unsigned int)lv_version_major(),
			       (unsigned int)lv_version_minor());
	} else {
		(void)snprintf(version_text, sizeof(version_text),
			       "Zephyr %u.%u x LVGL %u.%u",
			       (unsigned int)KERNEL_VERSION_MAJOR,
			       (unsigned int)KERNEL_VERSION_MINOR,
			       (unsigned int)lv_version_major(),
			       (unsigned int)lv_version_minor());
	}

	version_label = lv_label_create(screen);
	lv_label_set_text(version_label, version_text);
	lv_obj_set_style_text_font(version_label, &lv_font_montserrat_48, LV_PART_MAIN);
	lv_obj_set_style_text_color(version_label, lv_color_hex(SAMUS_ORANGE), LV_PART_MAIN);
	lv_obj_set_style_text_align(version_label, LV_TEXT_ALIGN_CENTER, LV_PART_MAIN);
	lv_obj_center(version_label);

	if (true == show_signature) {
		label = lv_label_create(screen);
		lv_label_set_text(label, "@_art_of_electronics_");
		lv_obj_set_style_text_font(label, &lv_font_montserrat_28, LV_PART_MAIN);
		lv_obj_set_style_text_color(label, lv_color_hex(SAMUS_RED), LV_PART_MAIN);
		lv_obj_align(label, LV_ALIGN_BOTTOM_MID, 0, -50);
	}
}

static void create_main_screen(lv_obj_t *screen, bool gradient_bg)
{
	if(true == gradient_bg) {
		lv_obj_set_style_bg_color(screen, lv_color_hex(DARK_SAMUS_BLUE), LV_PART_MAIN);
		lv_obj_set_style_bg_grad_color(screen, lv_color_hex(DARK_SAMUS_ARMOR),LV_PART_MAIN);
		lv_obj_set_style_bg_grad_dir(screen, LV_GRAD_DIR_VER, LV_PART_MAIN);
		lv_obj_set_style_bg_opa(screen, LV_OPA_COVER, LV_PART_MAIN);
	} else {
		lv_obj_set_style_bg_color(screen, lv_color_hex(DARK_SAMUS_ARMOR), LV_PART_MAIN);
    	lv_obj_set_style_bg_opa(screen, LV_OPA_COVER, LV_PART_MAIN);
	}
}

int main(void)
{
	int ret = 0;

	static const struct device *const backlight_dev = DEVICE_DT_GET(BACKLIGHT_NODE);
    static const struct device *const display_dev = DEVICE_DT_GET(DT_CHOSEN(zephyr_display));
	static const struct device *const rgb_led = DEVICE_DT_GET(RGB_LED_NODE);
    
    if (true != device_is_ready(display_dev)) {
        return -ENODEV;
    }

	struct led_rgb pixel = {
		.r = 0U,
		.g = 10U,
		.b = 10U,
	};

	if (true != device_is_ready(rgb_led)) {
		return -ENODEV;
	}

	if (true != device_is_ready(backlight_dev)) {
    	LOG_ERR("Backlight device not ready");
    	return -ENODEV;
	}

	if (NULL == lv_display_get_default()) {
    	LOG_ERR("LVGL display not available");
    	return -ENODEV;
	}

	screen = lv_screen_active();
	if (NULL == screen) {
    	LOG_ERR("LVGL active screen is NULL");
    	return -ENODEV;
	}

	LOG_INF("LCD RGB started");

	ret = led_strip_update_rgb(rgb_led, &pixel, 1U);
    if (0 != ret) {
        LOG_ERR("RGB LED update failed: %d", ret);
        return ret;
    }

    ret = led_set_brightness(backlight_dev, BACKLIGHT_LED_INDEX, 35U);
    if (0 != ret) {
        LOG_ERR("Backlight brightness failed: %d", ret);
        return ret;
    }

	create_main_screen(screen, true);
	create_version(screen, true);
	create_morphball_anim(screen);
	create_clickme(screen);

#if RUN_STRESS_TEST
	stress_test_start(screen);
#endif

	while (true) {
    	lv_timer_handler();
    	k_sleep(K_MSEC(10));
	}
}
```

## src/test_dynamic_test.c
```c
/*
 * ESP32-S3 RGB LCD dynamic partial-update smoke test.
 *
 * Moves the existing Samus Orange square for 30 seconds using a SINGLE
 * display_write() per step: the dirty rectangle contains both the old
 * and new square positions. No LCD driver, DMA, or framebuffer internals
 * are accessed here.
 */
#include <errno.h>
#include <stdbool.h>
#include <stddef.h>
#include <stdint.h>

#include <zephyr/device.h>
#include <zephyr/drivers/display.h>
#include <zephyr/kernel.h>
#include <zephyr/logging/log.h>
#include <zephyr/sys/util.h>


LOG_MODULE_REGISTER(viewe_dynamic_test, LOG_LEVEL_INF);

#define DYNAMIC_SQUARE_SIZE         (100U)
#define DYNAMIC_ORANGE_RGB565       (0xFBE0U)
#define DYNAMIC_BLACK_RGB565        (0x0000U)
#define DYNAMIC_STEP_X              (11)
#define DYNAMIC_STEP_Y              (7)
#define DYNAMIC_FRAME_PERIOD_MS     (50U)
#define DYNAMIC_TEST_DURATION_MS    (30000U)
#define DYNAMIC_REPORT_PERIOD_MS    (5000U)
#define DYNAMIC_MAX_DIRTY_WIDTH     (DYNAMIC_SQUARE_SIZE + DYNAMIC_STEP_X)
#define DYNAMIC_MAX_DIRTY_HEIGHT    (DYNAMIC_SQUARE_SIZE + DYNAMIC_STEP_Y)
#define DYNAMIC_MAX_DIRTY_PIXELS    (DYNAMIC_MAX_DIRTY_WIDTH * DYNAMIC_MAX_DIRTY_HEIGHT)
#define DYNAMIC_MS_PER_SECOND       (1000U)
#define DYNAMIC_FPS_DECIMALS        (10U)

/* Static: ~23.8 KB in BSS, not on the thread's stack. */
static uint16_t dirty_pixels[DYNAMIC_MAX_DIRTY_PIXELS];

static int dynamic_draw_dirty(const struct device *display, uint16_t old_x, uint16_t old_y, uint16_t new_x, uint16_t new_y)
{
    uint16_t left = MIN(old_x, new_x);
    uint16_t top = MIN(old_y, new_y);
    uint16_t right = MAX((uint16_t)(old_x + DYNAMIC_SQUARE_SIZE), (uint16_t)(new_x + DYNAMIC_SQUARE_SIZE));
    uint16_t bottom = MAX((uint16_t)(old_y + DYNAMIC_SQUARE_SIZE), (uint16_t)(new_y + DYNAMIC_SQUARE_SIZE));
    uint16_t width = (uint16_t)(right - left);
    uint16_t height = (uint16_t)(bottom - top);
    struct display_buffer_descriptor desc = {0};
    size_t pixel_count = (size_t)width * height;

    if (pixel_count > ARRAY_SIZE(dirty_pixels)) {
        return -EINVAL;
    }

    /* Fill both the erased region and the new position before flushing. */
    for (size_t row = 0U; row < height; ++row) {
        for (size_t col = 0U; col < width; ++col) {
            uint32_t screen_x = (uint32_t)left + (uint32_t)col;
            uint32_t screen_y = (uint32_t)top + (uint32_t)row;
            bool inside = ((screen_x >= new_x) && (screen_x < ((uint32_t)new_x + DYNAMIC_SQUARE_SIZE)) &&
                           (screen_y >= new_y) && (screen_y < ((uint32_t)new_y + DYNAMIC_SQUARE_SIZE)));

            dirty_pixels[row * width + col] = (true == inside) ? (DYNAMIC_ORANGE_RGB565) : (DYNAMIC_BLACK_RGB565);
        }
    }

    desc.buf_size = pixel_count * sizeof(dirty_pixels[0]);
    desc.width = width;
    desc.height = height;
    desc.pitch = width;

    return display_write(display, left, top, &desc, dirty_pixels);
}

int dynamic_test(const struct device *display)
{
    struct display_capabilities caps = {0};
    uint16_t x = 0U;
    uint16_t y = 0U;
    uint16_t max_x = 0U;
    uint16_t max_y = 0U;
    int32_t step_x = DYNAMIC_STEP_X;
    int32_t step_y = DYNAMIC_STEP_Y;
    int64_t start_ms = 0;
    int64_t report_start_ms = 0;
    uint32_t report_frames = 0U;
    uint32_t total_frames = 0U;

    if ((NULL == display) || (false == device_is_ready(display))) {
        return -ENODEV;
    }

    display_get_capabilities(display, &caps);
    if (PIXEL_FORMAT_RGB_565 != caps.current_pixel_format) {
        LOG_ERR("RGB565 is required for this test");
        return -ENOTSUP;
    }
    if ((caps.x_resolution < DYNAMIC_SQUARE_SIZE) || (caps.y_resolution < DYNAMIC_SQUARE_SIZE)) {
        return -EINVAL;
    }

    max_x = (uint16_t)(caps.x_resolution - DYNAMIC_SQUARE_SIZE);
    max_y = (uint16_t)(caps.y_resolution - DYNAMIC_SQUARE_SIZE);
    x = (uint16_t)(max_x / 2U);
    y = (uint16_t)(max_y / 2U);

    LOG_INF("Dynamic partial-write test: 30s, target 20 updates/s, square %ux%u", 
            DYNAMIC_SQUARE_SIZE, DYNAMIC_SQUARE_SIZE);

    start_ms = k_uptime_get();
    report_start_ms = start_ms;

    while ((k_uptime_get() - start_ms) < DYNAMIC_TEST_DURATION_MS) {
        int64_t frame_start_ms = k_uptime_get();
        int64_t elapsed_ms = 0;
        int32_t next_x = (int32_t)x + step_x;
        int32_t next_y = (int32_t)y + step_y;
        int ret = 0;

        if (next_x > (int32_t)max_x) {
            next_x = (int32_t)max_x;
            step_x = -step_x;
        } else if (next_x < 0) {
            next_x = 0;
            step_x = -step_x;
        }

        if (next_y > (int32_t)max_y) {
            next_y = (int32_t)max_y;
            step_y = -step_y;
        } else if (next_y < 0) {
            next_y = 0;
            step_y = -step_y;
        }

        ret = dynamic_draw_dirty(display, x, y, (uint16_t)next_x, (uint16_t)next_y);
        if (0 != ret) {
            LOG_ERR("Partial display_write failed: %d", ret);
            return ret;
        }

        x = (uint16_t)next_x;
        y = (uint16_t)next_y;
        total_frames++;
        report_frames++;

        elapsed_ms = k_uptime_get() - report_start_ms;
        if (elapsed_ms >= DYNAMIC_REPORT_PERIOD_MS) {
            uint32_t fps_x10 = (uint32_t)(((uint64_t)report_frames * DYNAMIC_MS_PER_SECOND * DYNAMIC_FPS_DECIMALS) /
                               (uint64_t)elapsed_ms);

            LOG_INF("Partial updates: %u.%u/s, total=%u, x=%u y=%u", fps_x10 / DYNAMIC_FPS_DECIMALS,
                    fps_x10 % DYNAMIC_FPS_DECIMALS, total_frames, x, y);
            report_start_ms = k_uptime_get();
            report_frames = 0U;
        }

        elapsed_ms = k_uptime_get() - frame_start_ms;
        if (elapsed_ms < DYNAMIC_FRAME_PERIOD_MS) {
            k_sleep(K_MSEC((int32_t)(DYNAMIC_FRAME_PERIOD_MS - elapsed_ms)));
        }
    }

    LOG_INF("Dynamic test completed: %u successful partial updates", total_frames);
    return 0;
}
```

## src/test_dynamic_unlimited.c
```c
/*
 * VIEWE ESP32-S3 RGB565 display throughput benchmark.
 *
 * One partial display_write() per update. No FPS cap, no sleep in the loop.
 * Tests dirty-rectangle updates without touching LCD/GDMA driver internals.
 * The application remains responsible for painting the starting square.
 */
#include <errno.h>
#include <stdbool.h>
#include <stddef.h>
#include <stdint.h>

#include <zephyr/device.h>
#include <zephyr/drivers/display.h>
#include <zephyr/kernel.h>
#include <zephyr/logging/log.h>
#include <zephyr/sys/util.h>

LOG_MODULE_REGISTER(viewe_dynamic_test, LOG_LEVEL_INF);

#define DYNAMIC_SQUARE_SIZE         (100U)
#define DYNAMIC_ORANGE_RGB565       (0xFBE0U)
#define DYNAMIC_BLACK_RGB565        (0x0000U)
#define DYNAMIC_STEP_X              (11)
#define DYNAMIC_STEP_Y              (7)
#define DYNAMIC_TEST_DURATION_MS    (30000U)
#define DYNAMIC_REPORT_PERIOD_MS    (5000U)
#define DYNAMIC_MAX_DIRTY_WIDTH     (DYNAMIC_SQUARE_SIZE + DYNAMIC_STEP_X)
#define DYNAMIC_MAX_DIRTY_HEIGHT    (DYNAMIC_SQUARE_SIZE + DYNAMIC_STEP_Y)
#define DYNAMIC_MAX_DIRTY_PIXELS    (DYNAMIC_MAX_DIRTY_WIDTH * DYNAMIC_MAX_DIRTY_HEIGHT)
#define DYNAMIC_MS_PER_SECOND       (1000U)
#define DYNAMIC_FPS_DECIMALS        (10U)

/* 111 x 107 x 2 = 23754 bytes in BSS, not on the thread stack. */
static uint16_t dirty_pixels[DYNAMIC_MAX_DIRTY_PIXELS];

static void dynamic_move_axis(uint16_t current, int32_t *step, uint16_t maximum, uint16_t *next)
{
    int32_t position = (int32_t)current + *step;

    /* Reflect overshoot rather than clamping at the edge. */
    if (position > (int32_t)maximum) {
        position = (2 * (int32_t)maximum) - position;
        *step = -*step;
    } else if (position < 0) {
        position = -position;
        *step = -*step;
    }

    *next = (uint16_t)position;
}

static int dynamic_draw_dirty(const struct device *display, uint16_t old_x, uint16_t old_y,
                              uint16_t new_x, uint16_t new_y, uint32_t *write_us)
{
    uint16_t left = MIN(old_x, new_x);
    uint16_t top = MIN(old_y, new_y);
    uint16_t right = MAX((uint16_t)(old_x + DYNAMIC_SQUARE_SIZE), (uint16_t)(new_x + DYNAMIC_SQUARE_SIZE));
    uint16_t bottom = MAX((uint16_t)(old_y + DYNAMIC_SQUARE_SIZE), (uint16_t)(new_y + DYNAMIC_SQUARE_SIZE));
    uint16_t width = (uint16_t)(right - left);
    uint16_t height = (uint16_t)(bottom - top);
    size_t pixel_count = (size_t)width * height;
    struct display_buffer_descriptor desc = {0};
    uint32_t before_write = 0U;
    uint32_t after_write = 0U;
    int ret = 0;

    if (pixel_count > ARRAY_SIZE(dirty_pixels)) {
        return -EINVAL;
    }

    for (size_t row = 0U; row < height; ++row) {
        for (size_t col = 0U; col < width; ++col) {
            uint32_t screen_x = (uint32_t)left + (uint32_t)col;
            uint32_t screen_y = (uint32_t)top + (uint32_t)row;
            bool inside = ((screen_x >= new_x) && (screen_x < ((uint32_t)new_x + DYNAMIC_SQUARE_SIZE)) &&
                           (screen_y >= new_y) && (screen_y < ((uint32_t)new_y + DYNAMIC_SQUARE_SIZE)));

            dirty_pixels[row * width + col] = (true == inside) ? DYNAMIC_ORANGE_RGB565 : DYNAMIC_BLACK_RGB565;
        }
    }

    desc.buf_size = pixel_count * sizeof(dirty_pixels[0]);
    desc.width = width;
    desc.height = height;
    desc.pitch = width;

    before_write = k_cycle_get_32();
    ret = display_write(display, left, top, &desc, dirty_pixels);
    after_write = k_cycle_get_32();
    *write_us = k_cyc_to_us_floor32(after_write - before_write);

    return ret;
}

int dynamic_test(const struct device *display)
{
    struct display_capabilities caps = {0};
    uint16_t x = 0U;
    uint16_t y = 0U;
    uint16_t max_x = 0U;
    uint16_t max_y = 0U;
    int32_t step_x = DYNAMIC_STEP_X;
    int32_t step_y = DYNAMIC_STEP_Y;
    int64_t start_ms = 0;
    int64_t report_start_ms = 0;
    uint32_t total_frames = 0U;
    uint32_t report_frames = 0U;
    uint64_t report_write_us = 0U;
    uint64_t report_frame_us = 0U;
    uint32_t max_write_us = 0U;

    if ((NULL == display) || (false == device_is_ready(display))) {
        return -ENODEV;
    }

    display_get_capabilities(display, &caps);
    if (PIXEL_FORMAT_RGB_565 != caps.current_pixel_format) {
        LOG_ERR("RGB565 is required for this test");
        return -ENOTSUP;
    }
    if ((caps.x_resolution < DYNAMIC_SQUARE_SIZE) || (caps.y_resolution < DYNAMIC_SQUARE_SIZE)) {
        return -EINVAL;
    }

    max_x = (uint16_t)(caps.x_resolution - DYNAMIC_SQUARE_SIZE);
    max_y = (uint16_t)(caps.y_resolution - DYNAMIC_SQUARE_SIZE);
    x = (uint16_t)(max_x / 2U);
    y = (uint16_t)(max_y / 2U);

    LOG_INF("Uncapped RGB565 partial-write benchmark: %u s, square %ux%u",
            DYNAMIC_TEST_DURATION_MS / DYNAMIC_MS_PER_SECOND, DYNAMIC_SQUARE_SIZE, DYNAMIC_SQUARE_SIZE);

    start_ms = k_uptime_get();
    report_start_ms = start_ms;

    while ((k_uptime_get() - start_ms) < DYNAMIC_TEST_DURATION_MS) {
        uint16_t next_x = 0U;
        uint16_t next_y = 0U;
        uint32_t write_us = 0U;
        uint32_t frame_start_cycles = k_cycle_get_32();
        uint32_t frame_us = 0U;
        int64_t report_elapsed_ms = 0;
        int ret = 0;

        dynamic_move_axis(x, &step_x, max_x, &next_x);
        dynamic_move_axis(y, &step_y, max_y, &next_y);

        ret = dynamic_draw_dirty(display, x, y, next_x, next_y, &write_us);
        if (0 != ret) {
            LOG_ERR("Partial display_write failed: %d", ret);
            return ret;
        }

        frame_us = k_cyc_to_us_floor32(k_cycle_get_32() - frame_start_cycles);
        x = next_x;
        y = next_y;
        total_frames++;
        report_frames++;
        report_write_us += write_us;
        report_frame_us += frame_us;
        max_write_us = MAX(max_write_us, write_us);

        report_elapsed_ms = k_uptime_get() - report_start_ms;
        if ((report_elapsed_ms >= DYNAMIC_REPORT_PERIOD_MS) && (report_frames > 0U)) {
            uint32_t fps_x10 = (uint32_t)(((uint64_t)report_frames *
                DYNAMIC_MS_PER_SECOND * DYNAMIC_FPS_DECIMALS) / (uint64_t)report_elapsed_ms);
            uint32_t mean_write_us = (uint32_t)(report_write_us / report_frames);
            uint32_t mean_frame_us = (uint32_t)(report_frame_us / report_frames);

            LOG_INF("Updates %u.%u/s, total=%u, write avg/max=%u/%u us, "
                    "frame avg=%u us, x=%u y=%u", fps_x10 / DYNAMIC_FPS_DECIMALS,
                    fps_x10 % DYNAMIC_FPS_DECIMALS, total_frames, mean_write_us, max_write_us,
                    mean_frame_us, x, y);

            report_start_ms = k_uptime_get();
            report_frames = 0U;
            report_write_us = 0U;
            report_frame_us = 0U;
            max_write_us = 0U;
        }
    }

    {
        int64_t elapsed_ms = k_uptime_get() - start_ms;
        uint32_t fps_x10 = 0U;

        if (elapsed_ms > 0) {
            fps_x10 = (uint32_t)(((uint64_t)total_frames *
                DYNAMIC_MS_PER_SECOND * DYNAMIC_FPS_DECIMALS) / (uint64_t)elapsed_ms);
        }
        LOG_INF("Uncapped test complete: %u updates in %lld ms, avg=%u.%u/s", total_frames, 
                (long long)elapsed_ms, fps_x10 / DYNAMIC_FPS_DECIMALS, fps_x10 % DYNAMIC_FPS_DECIMALS);
    }

    return 0;
}
```
